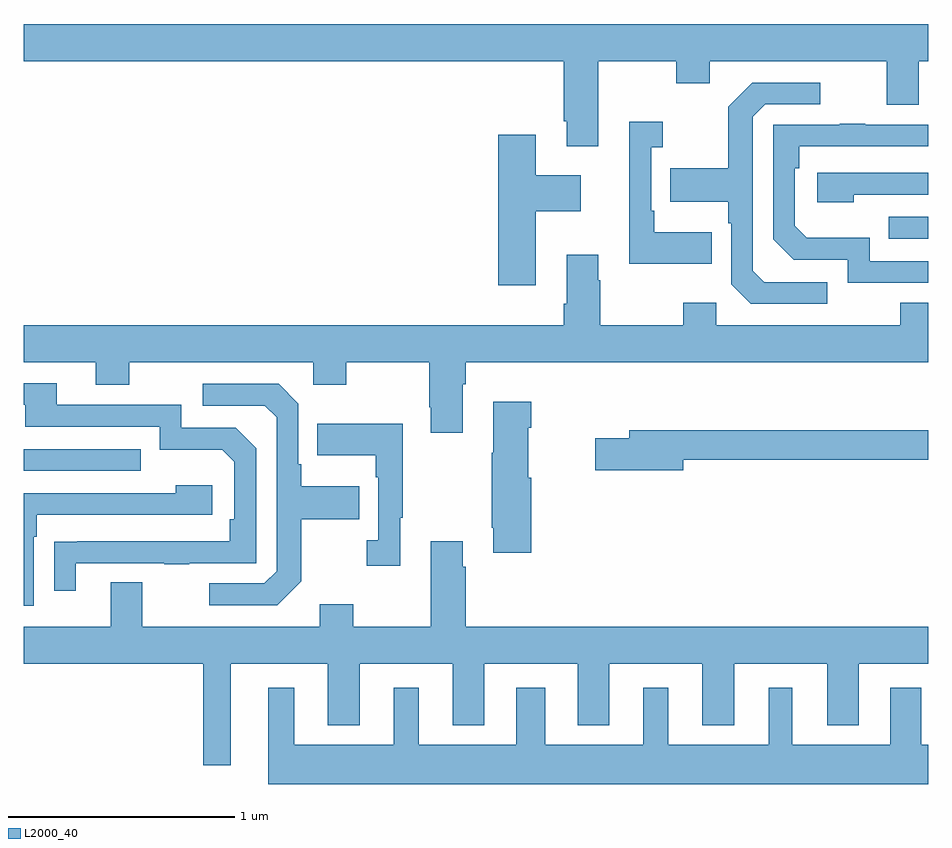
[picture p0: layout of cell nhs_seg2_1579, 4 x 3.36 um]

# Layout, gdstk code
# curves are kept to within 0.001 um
import gdstk
lib = gdstk.Library(unit=1e-6, precision=1e-09)
def R(c, l, rs):  # rectangles x0, y0, x1, y1
    for r in rs: c.add(gdstk.rectangle(r[:2], r[2:], *l))
def P(c, l, *ps):  # polygons
    for p in ps: c.add(gdstk.Polygon(p, *l))
L2000_40 = (2000, 40)

nhs_seg2_1579 = lib.new_cell('nhs_seg2_1579')
R(nhs_seg2_1579, L2000_40, [(193,619.185,193.517,619.281), (196.825,620.211,197,620.307)])
P(nhs_seg2_1579, L2000_40, [(195.541,620.996),(195.886,620.996),(195.886,620.897),(196.033,620.897),(196.033,620.996),(196.817,620.996),(196.817,620.802),(196.957,620.802),(196.957,620.996),(197,620.996),(197,621.16),(193,621.16),(193,620.996),(195.389,620.996),(195.389,620.731),(195.401,620.731),(195.401,620.619),(195.541,620.619)],
  [(196.552,620.019),(196.275,620.019),(196.224,620.07),(196.224,620.751),(196.278,620.805),(196.522,620.805),(196.522,620.901),(196.221,620.901),(196.116,620.795),(196.116,620.523),(195.859,620.523),(195.859,620.375),(196.116,620.375),(196.116,620.279),(196.128,620.279),(196.128,620.01),(196.215,619.923),(196.552,619.923)],
  [(196.043,620.239),(195.787,620.239),(195.787,620.335),(195.774,620.335),(195.774,620.615),(195.826,620.615),(195.826,620.728),(195.677,620.728),(195.677,620.099),(196.043,620.099)],
  [(197,620.112),(196.74,620.112),(196.74,620.215),(196.463,620.215),(196.41,620.268),(196.41,620.522),(196.43,620.522),(196.43,620.619),(197,620.619),(197,620.715),(196.721,620.715),(196.721,620.72),(196.609,620.72),(196.609,620.715),(196.314,620.715),(196.314,620.208),(196.404,620.118),(196.644,620.118),(196.644,620.016),(197,620.016)],
  [(195.265,620.333),(195.463,620.333),(195.463,620.491),(195.265,620.491),(195.265,620.671),(195.098,620.671),(195.098,620.004),(195.265,620.004)],
  [(196.67,620.406),(197,620.406),(197,620.502),(196.509,620.502),(196.509,620.372),(196.67,620.372)],
  [(194.941,619.568),(194.954,619.568),(194.954,619.664),(197,619.664),(197,619.927),(196.876,619.927),(196.876,619.828),(196.062,619.828),(196.062,619.927),(195.916,619.927),(195.916,619.828),(195.549,619.828),(195.549,620.027),(195.541,620.027),(195.541,620.14),(195.401,620.14),(195.401,619.924),(195.389,619.924),(195.389,619.828),(193,619.828),(193,619.664),(193.319,619.664),(193.319,619.565),(193.467,619.565),(193.467,619.664),(194.28,619.664),(194.28,619.565),(194.427,619.565),(194.427,619.664),(194.794,619.664),(194.794,619.465),(194.801,619.465),(194.801,619.353),(194.941,619.353)],
  [(193.231,618.777),(193.621,618.777),(193.621,618.772),(193.733,618.772),(193.733,618.777),(194.028,618.777),(194.028,619.284),(193.938,619.374),(193.698,619.374),(193.698,619.476),(193.147,619.476),(193.147,619.572),(193,619.572),(193,619.476),(193.007,619.476),(193.007,619.38),(193.602,619.38),(193.602,619.277),(193.879,619.277),(193.932,619.224),(193.932,618.97),(193.912,618.97),(193.912,618.873),(193.135,618.872),(193.135,618.654),(193.231,618.654)],
  [(194.227,618.697),(194.227,618.97),(194.483,618.97),(194.483,619.117),(194.227,619.117),(194.227,619.213),(194.214,619.213),(194.214,619.482),(194.127,619.569),(193.791,619.569),(193.791,619.473),(194.067,619.473),(194.118,619.422),(194.118,618.741),(194.064,618.687),(193.821,618.687),(193.821,618.591),(194.121,618.591)],
  [(195.245,619.155),(195.232,619.155),(195.232,619.376),(195.245,619.376),(195.245,619.489),(195.077,619.489),(195.077,619.265),(195.07,619.265),(195.07,618.934),(195.077,618.934),(195.077,618.822),(195.245,618.822)],
  [(194.665,618.977),(194.677,618.977),(194.677,619.393),(194.299,619.393),(194.299,619.253),(194.556,619.253),(194.556,619.157),(194.568,619.157),(194.568,618.878),(194.517,618.878),(194.517,618.765),(194.665,618.765)],
  [(195.916,619.234),(197,619.234),(197,619.363),(195.677,619.363),(195.677,619.329),(195.528,619.329),(195.528,619.187),(195.916,619.187)],
  [(193.044,618.893),(193.057,618.893),(193.057,618.99),(193.834,618.99),(193.834,619.12),(193.673,619.12),(193.673,619.086),(193,619.086),(193,618.588),(193.044,618.588)],
  [(193.915,618.332),(194.345,618.332),(194.345,618.059),(194.485,618.059),(194.485,618.332),(194.897,618.332),(194.897,618.059),(195.037,618.059),(195.037,618.332),(195.449,618.332),(195.449,618.059),(195.589,618.059),(195.589,618.332),(196.001,618.332),(196.001,618.059),(196.141,618.059),(196.141,618.332),(196.553,618.332),(196.553,618.059),(196.693,618.059),(196.693,618.332),(197,618.332),(197,618.496),(194.954,618.496),(194.954,618.761),(194.941,618.761),(194.941,618.874),(194.801,618.874),(194.801,618.496),(194.457,618.496),(194.457,618.595),(194.309,618.595),(194.309,618.496),(193.525,618.496),(193.525,618.691),(193.385,618.691),(193.385,618.496),(193,618.496),(193,618.332),(193.794,618.332),(193.794,617.883),(193.915,617.883)],
  [(197,617.974),(196.969,617.974),(196.969,618.226),(196.832,618.226),(196.832,617.974),(196.399,617.974),(196.399,618.226),(196.295,618.226),(196.295,617.974),(195.85,617.974),(195.85,618.226),(195.74,618.226),(195.74,617.974),(195.307,617.974),(195.307,618.226),(195.179,618.226),(195.179,617.974),(194.746,617.974),(194.746,618.226),(194.636,618.226),(194.636,617.974),(194.197,617.974),(194.197,618.226),(194.081,618.226),(194.081,617.8),(197,617.8)])

lib.write_gds('nhs_seg2_1579.gds')
